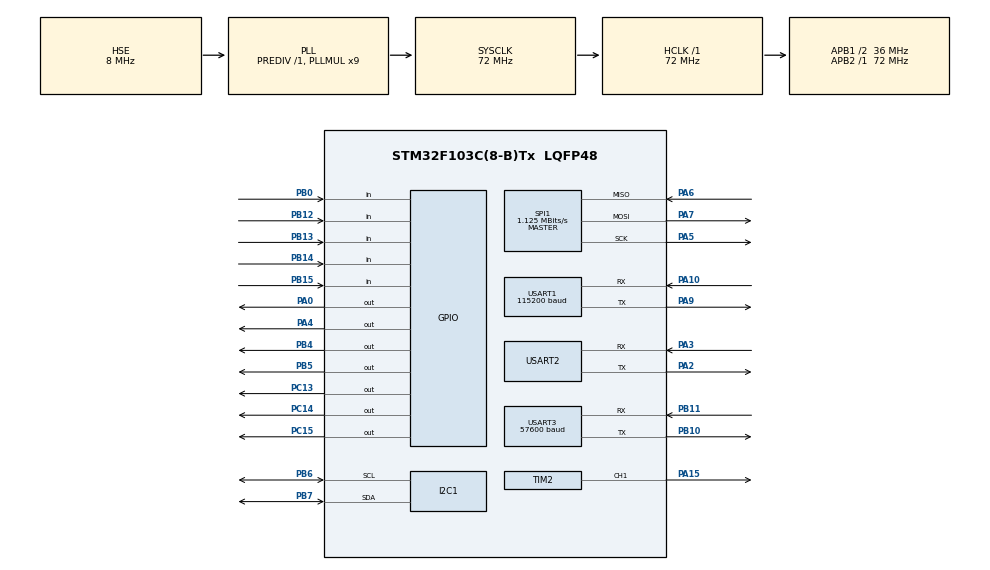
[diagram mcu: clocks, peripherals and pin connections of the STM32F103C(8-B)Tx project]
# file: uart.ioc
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Mcu.Family=STM32F1
Mcu.Name=STM32F103C(8-B)Tx
Mcu.Package=LQFP48
NVIC.PriorityGroup=NVIC_PRIORITYGROUP_4
NVIC.TIM3_IRQn=true\:0\:0\:false\:false\:true\:true\:true\:true
NVIC.USART1_IRQn=true\:0\:0\:false\:false\:true\:true\:true\:true
NVIC.USART2_IRQn=true\:0\:0\:false\:false\:true\:true\:true\:true
NVIC.USART3_IRQn=true\:0\:0\:false\:false\:true\:true\:true\:true
PA0-WKUP.Signal=GPIO_Output
PA10.Mode=Asynchronous
PA10.Signal=USART1_RX
PA13.Mode=Serial_Wire
PA13.Signal=SYS_JTMS-SWDIO
PA14.Mode=Serial_Wire
PA14.Signal=SYS_JTCK-SWCLK
PA15.Signal=S_TIM2_CH1_ETR
PA2.Mode=Asynchronous
PA2.Signal=USART2_TX
PA3.Mode=Asynchronous
PA3.Signal=USART2_RX
PA4.Signal=GPIO_Output
PA5.Mode=Full_Duplex_Master
PA5.Signal=SPI1_SCK
PA6.Mode=Full_Duplex_Master
PA6.Signal=SPI1_MISO
PA7.Mode=Full_Duplex_Master
PA7.Signal=SPI1_MOSI
PA9.Mode=Asynchronous
PA9.Signal=USART1_TX
PB0.Signal=GPIO_Input
PB10.Mode=Asynchronous
PB10.Signal=USART3_TX
PB11.Mode=Asynchronous
PB11.Signal=USART3_RX
PB12.GPIO_PuPd=GPIO_PULLUP
PB12.Signal=GPIO_Input
PB13.GPIO_PuPd=GPIO_PULLUP
PB13.Signal=GPIO_Input
PB14.GPIO_PuPd=GPIO_PULLUP
PB14.Signal=GPIO_Input
PB15.GPIO_PuPd=GPIO_PULLUP
PB15.Signal=GPIO_Input
PB4.GPIO_ModeDefaultOutputPP=GPIO_MODE_OUTPUT_PP
PB4.Signal=GPIO_Output
PB5.PinState=GPIO_PIN_SET
PB5.Signal=GPIO_Output
PB6.Mode=I2C
PB6.Signal=I2C1_SCL
PB7.Mode=I2C
PB7.Signal=I2C1_SDA
PC13-TAMPER-RTC.Signal=GPIO_Output
PC14-OSC32_IN.Signal=GPIO_Output
PC15-OSC32_OUT.Signal=GPIO_Output
PD0-OSC_IN.Mode=HSE-External-Oscillator
PD0-OSC_IN.Signal=RCC_OSC_IN
PD1-OSC_OUT.Mode=HSE-External-Oscillator
PD1-OSC_OUT.Signal=RCC_OSC_OUT
ProjectManager.HeapSize=0x200
ProjectManager.StackSize=0x400
ProjectManager.TargetToolchain=MDK-ARM V5.32
RCC.AHBFreq_Value=72000000
RCC.APB1CLKDivider=RCC_HCLK_DIV2
RCC.APB1Freq_Value=36000000
RCC.APB1TimFreq_Value=72000000
RCC.APB2Freq_Value=72000000
RCC.APB2TimFreq_Value=72000000
RCC.HCLKFreq_Value=72000000
RCC.PLLMUL=RCC_PLL_MUL9
RCC.PLLSourceVirtual=RCC_PLLSOURCE_HSE
RCC.SYSCLKFreq_VALUE=72000000
RCC.SYSCLKSource=RCC_SYSCLKSOURCE_PLLCLK
RCC.USBFreq_Value=72000000
SH.S_TIM2_CH1_ETR.0=TIM2_CH1,PWM Generation1 CH1
SPI1.BaudRatePrescaler=SPI_BAUDRATEPRESCALER_64
SPI1.CalculateBaudRate=1.125 MBits/s
SPI1.Direction=SPI_DIRECTION_2LINES
SPI1.Mode=SPI_MODE_MASTER
SPI1.VirtualType=VM_MASTER
TIM2.AutoReloadPreload=TIM_AUTORELOAD_PRELOAD_DISABLE
TIM2.Channel-PWM\ Generation1\ CH1=TIM_CHANNEL_1
TIM2.Period=20000
TIM2.Prescaler=71
TIM2.Pulse-PWM\ Generation1\ CH1=0
TIM3.Period=9999
TIM3.Prescaler=71
USART1.BaudRate=115200
USART1.VirtualMode=VM_ASYNC
USART2.VirtualMode=VM_ASYNC
USART3.BaudRate=57600
USART3.VirtualMode=VM_ASYNC
VP_TIM2_VS_ClockSourceINT.Mode=Internal
VP_TIM3_VS_ClockSourceINT.Mode=Internal
board=custom

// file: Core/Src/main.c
/* USER CODE BEGIN Header */
/**
  ******************************************************************************
  * @file           : main.c
  * @brief          : Main program body
  ******************************************************************************
  * @attention
  *
  * Copyright (c) 2025 STMicroelectronics.
  * All rights reserved.
  *
  * This software is licensed under terms that can be found in the LICENSE file
  * in the root directory of this software component.
  * If no LICENSE file comes with this software, it is provided AS-IS.
  *
  ******************************************************************************
  */
/* USER CODE END Header */
#include "main.h"
#include "i2c.h"
#include "spi.h"
#include "tim.h"
#include "usart.h"
#include "gpio.h"

/* USER CODE BEGIN Includes */
#include "stdio.h"
#include "string.h"
#include "interrupt.h"
#include "oled.h"
#include "rc522.h"
/* USER CODE END Includes */

/* USER CODE BEGIN PD */
#define TARGET_STRING1 "success"
#define TARGET_STRING2 "+MQTTSUBRECV:0,\"smarthome/lock\",1,1"
#define TARGET_STRING3 "+MQTTSUBRECV:0,\"smarthome/lock\",13,resetpassword"
uint8_t ESP8266_INIT_OK = 0;
/* USER CODE END PD */

void SystemClock_Config(void);

/* USER CODE BEGIN 0 */
uint8_t Key_row[1]={0xff};   //保存按键行扫描情况的状态数组
int key_Data;
#define START_KEY 5  // ?????? 5 ??????
#define PASSWORD_LEN 4
char current_password[PASSWORD_LEN];
#define USART_REC_LEN 200 // ???????
#define RXBUFFERSIZE 1 // ????
unsigned char USART1_RX_BUF[USART_REC_LEN]; // ????
unsigned int USART1_RX_STA = 0; // ??????
unsigned char aRxBuffer1[RXBUFFERSIZE]; // ????
unsigned char len1; // ????????
void MY_USART1_Printf(const char* str);

unsigned char USART2_RX_BUF[USART_REC_LEN]; // ????
unsigned int USART2_RX_STA = 0; // ??????
unsigned char aRxBuffer2[RXBUFFERSIZE]; // ????
unsigned char len2; // ????????
void MY_USART2_Printf(const char* str);

unsigned char USART3_RX_BUF[USART_REC_LEN]; // ????
unsigned int USART3_RX_STA = 0; // ??????
unsigned char aRxBuffer3[RXBUFFERSIZE]; // ????
unsigned char len3; // ????????

unsigned char aRxBuffer[RXBUFFERSIZE]; // ???????
unsigned char len;                     // ????????

const char* sendString = "Please send the target string.\n";
const char* targetString = "your_target_string";
extern void MFRC522_Init(void);
extern struct keys key[];
uint8_t zhiling1[]={0xEF,0x01,0xFF,0xFF,0xFF,0xFF,0x01,0x00,0x03,0x01,0x00,0x05};
uint8_t zhiling2[]={0xEF,0x01,0xFF,0xFF,0xFF,0xFF,0x01,0x00,0x04,0x02,0x01,0x00,0x08};
uint8_t zhiling3[]={0xEF,0x01,0xFF,0xFF,0xFF,0xFF,0x01,0x00,0x08,0x04,0x01,0x00,0x01,0x00,0x01,0x00,0x10};
uint8_t zhiling4[]={0xEF,0x01,0xFF,0xFF,0xFF,0xFF,0x01,0x00,0x08,0x32,0x02,0xFF,0xFF,0x00,0x05,0x02,0x40};//直接
uint8_t reply1[]={0xEF,0x01,0xFF,0xFF,0xFF,0xFF,0x07,0x00,0x08,0x00};//使用指令4正确的返回格式
extern char rxdata[];
extern uint8_t rxdat;
extern unsigned char rx_pointer;
uint8_t flag=0;
uint8_t 	k;
uint8_t 	i;
uint8_t 	j;
uint8_t 	b;
uint8_t 	comand;
uint8_t		text2[9] = "Card ID: ";
uint8_t		end[1] = "\r";
uint8_t		txBuffer[18] = "00000000";
uint8_t		NFCka[18] = "C3D1BB0F";
uint8_t		NFCka1[18] = "030B8016";
uint8_t 	retstr[10];
uint8_t 	rxBuffer[8];
uint8_t		lastID[4];
uint8_t		memID[8] = "9C55A1B5";
uint8_t		str[MFRC522_MAX_LEN];																						// MFRC522_MAX_LEN = 16
uint8_t MFRC522_Check(uint8_t* id);
uint8_t MFRC522_Compare(uint8_t* CardID, uint8_t* CompareID);
void MFRC522_WriteRegister(uint8_t addr, uint8_t val);
uint8_t MFRC522_ReadRegister(uint8_t addr);
void MFRC522_SetBitMask(uint8_t reg, uint8_t mask);
void MFRC522_ClearBitMask(uint8_t reg, uint8_t mask);
uint8_t MFRC522_Request(uint8_t reqMode, uint8_t* TagType);
uint8_t MFRC522_ToCard(uint8_t command, uint8_t* sendData, uint8_t sendLen, uint8_t* backData, uint16_t* backLen);
uint8_t MFRC522_Anticoll(uint8_t* serNum);
void MFRC522_CalulateCRC(uint8_t* pIndata, uint8_t len, uint8_t* pOutData);
uint8_t MFRC522_SelectTag(uint8_t* serNum);
uint8_t MFRC522_Auth(uint8_t authMode, uint8_t BlockAddr, uint8_t* Sectorkey, uint8_t* serNum);
uint8_t MFRC522_Read(uint8_t blockAddr, uint8_t* recvData);
uint8_t MFRC522_Write(uint8_t blockAddr, uint8_t* writeData);
void MFRC522_Init(void);
void MFRC522_Reset(void);
void MFRC522_AntennaOn(void);
void MFRC522_AntennaOff(void);
void MFRC522_Halt(void);

void MY_USART3_Printf(const char* str);
void char_to_hex(uint8_t data);
void MY_USART_Printf(UART_HandleTypeDef *huart, const char* str);
int compareReceivedString(int uart_num, const char* sendStr, const char* targetStr);
char KEY_ROW_SCAN(void)
{
    //读出行扫描状态
    Key_row[0] = HAL_GPIO_ReadPin(GPIOB,GPIO_PIN_12)<<3;//列1读取
    Key_row[0] = Key_row[0] | (HAL_GPIO_ReadPin(GPIOB,GPIO_PIN_13)<<2);//列2读取
    Key_row[0] = Key_row[0] | (HAL_GPIO_ReadPin(GPIOB,GPIO_PIN_14)<<1);//列3读取
    Key_row[0] = Key_row[0] | (HAL_GPIO_ReadPin(GPIOB,GPIO_PIN_15));//列4读取

    if(Key_row[0] != 0x0f)         //行扫描有变化，判断该列有按键按下
    {
      HAL_Delay(10);                    //消抖
      if(Key_row[0] != 0x0f)
        {
                switch(Key_row[0])
                {
                    case 0x07:         //0111 判断为该列第1行的按键按下
                        return 1;
                    case 0x0b:         //1011 判断为该列第2行的按键按下
                        return 2;
                    case 0x0d:         //1101 判断为该列第3行的按键按下
                        return 3;
                    case 0x0e:         //1110 判断为该列第4行的按键按下
                        return 4;
                    default :
                        return 0;
                }
        }
        else return 0;
    }
    else return 0;
}
char KEY_SCAN(void)
{
    char Key_Num=0;       //1-16对应的按键数
    char key_row_num=0;        //行扫描结果记录

		HAL_GPIO_WritePin(GPIOA, GPIO_PIN_0, GPIO_PIN_RESET);	//行1置低
    if( (key_row_num=KEY_ROW_SCAN()) != 0 )
    {
        while(KEY_ROW_SCAN() != 0);  //消抖
        Key_Num = 0 + key_row_num;

    }
		HAL_GPIO_WritePin(GPIOA, GPIO_PIN_0, GPIO_PIN_SET);	//行1置高

    HAL_GPIO_WritePin(GPIOC, GPIO_PIN_15, GPIO_PIN_RESET);	//行2置低
    if( (key_row_num=KEY_ROW_SCAN()) != 0 )
    {
        while(KEY_ROW_SCAN() != 0);
        Key_Num = 4 + key_row_num;
    }
    HAL_GPIO_WritePin(GPIOC, GPIO_PIN_15, GPIO_PIN_SET);	//行2置高

    HAL_GPIO_WritePin(GPIOC, GPIO_PIN_14, GPIO_PIN_RESET);	//行3置低
    if( (key_row_num=KEY_ROW_SCAN()) != 0 )
    {
        while(KEY_ROW_SCAN() != 0);
    Key_Num = 8 + key_row_num;
    }
		HAL_GPIO_WritePin(GPIOC, GPIO_PIN_14, GPIO_PIN_SET);	//行3置高

		HAL_GPIO_WritePin(GPIOC, GPIO_PIN_13, GPIO_PIN_RESET);	//行4置低
    if( (key_row_num=KEY_ROW_SCAN()) != 0 )
    {
        while(KEY_ROW_SCAN() != 0);
        Key_Num = 12 + key_row_num;

    }
		HAL_GPIO_WritePin(GPIOC, GPIO_PIN_13, GPIO_PIN_SET);	//行4置高

    return Key_Num;
}
void initialize_password() {
    // ??????????,?? 1, 2, 3, 4
    for (int i = 0; i < PASSWORD_LEN; i++) {
        current_password[i] = i + 1;
    }
}

//// ???????
void change_password() {
    char new_password[PASSWORD_LEN];
    int i = 0;
    char display_str[PASSWORD_LEN + 1];  // ???? * ????

    OLED_FullyClear();
    OLED_ShowStr(0, 0, (unsigned char *)"new password", 2);

    while (i < PASSWORD_LEN) {
        char key = KEY_SCAN();
        if (key != 0) {  // ???????
            new_password[i] = key;
            // ??????????? *
            display_str[i] = '*';
            display_str[i + 1] = '\0';  // ??????
            // ??????? * ???
            OLED_ShowStr(0, 10, (unsigned char *)display_str, 2);
            i++;
        }
    }

    // ?????????????
    for (i = 0; i < PASSWORD_LEN; i++) {
        current_password[i] = new_password[i];
    }
    OLED_FullyClear();
    OLED_ShowStr(0, 0, (unsigned char *)"Password changed", 2);
		HAL_Delay(500);
		OLED_FullyClear();
}

//// ?????????

//// ?????????
void password_input_and_verify() {
    char input_password[PASSWORD_LEN];
    int i = 0;
    char display_str[PASSWORD_LEN + 1];  // ???? * ????
		OLED_FullyClear();
    OLED_ShowStr(0, 0, (unsigned char *)"Enter password", 2);

    // ??????
    while (i < PASSWORD_LEN) {
        char key = KEY_SCAN();
        if (key != 0) {  // ???????
            input_password[i] = key;
            // ??????????? *
            display_str[i] = '*';
            display_str[i + 1] = '\0';  // ??????
            // ??????? * ???
            OLED_ShowStr(0, 10, (unsigned char *)display_str, 2);
            i++;
        }
    }

    // ????
    for (i = 0; i < PASSWORD_LEN; i++) {
        if (input_password[i] != current_password[i]) {
            OLED_FullyClear();
            OLED_ShowStr(0, 0, (unsigned char *)"Password wrong", 2);
        }
        else if (i==3&&input_password[i] == current_password[i])
					{
				  OLED_FullyClear();
					OLED_ShowStr(0, 0, (unsigned char *)"Password correct", 2);
					__HAL_TIM_SET_COMPARE(&htim2,TIM_CHANNEL_1,1500);//90
			    HAL_Delay(1000);
				  __HAL_TIM_SET_COMPARE(&htim2,TIM_CHANNEL_1,500);//0
					}
    }
				HAL_Delay(500);
				OLED_FullyClear();
}
void char_to_hex(uint8_t data) {
	uint8_t digits[] = {'0','1','2','3','4','5','6','7','8','9','A','B','C','D','E','F'};

	if (data < 16) {
		retstr[0] = '0';
		retstr[1] = digits[data];
	} else {
		retstr[0] = digits[(data & 0xF0)>>4];
		retstr[1] = digits[(data & 0x0F)];
	}
}

void ESP8266_Init(void)//初始化wifi模块
{
	  HAL_Delay(3000);

		USART2_RX_STA = 0;
	  while ((USART2_RX_STA & 0x8000)==0){
			MY_USART2_Printf("AT+CWMODE=1\r\n");
			HAL_Delay(500);
		}
		HAL_Delay(500);
		USART2_RX_STA = 0;
		while ((USART2_RX_STA & 0x8000)==0){
    MY_USART2_Printf("AT+CWJAP=\"lin\",\"210629939\"\r\n");
			HAL_Delay(500);
		}
		HAL_Delay(2000);
		USART2_RX_STA = 0;
		while ((USART2_RX_STA & 0x8000)==0){
		MY_USART2_Printf("AT+MQTTUSERCFG=0,1,\"MQTT_ID\",\"username\",\"password\",0,0,\"\"\r\n");
			HAL_Delay(500);
		}
		HAL_Delay(500);
    USART2_RX_STA = 0;
		while ((USART2_RX_STA & 0x8000)==0){
    MY_USART2_Printf("AT+MQTTCONN=0,\"47.95.171.151\",1883,1\r\n");
			HAL_Delay(500);
		}
		HAL_Delay(1000);
		USART2_RX_STA = 0;
		while ((USART2_RX_STA & 0x8000)==0){
	  MY_USART2_Printf("AT+MQTTSUB=0,\"smarthome/lock\",0\r\n");
			HAL_Delay(500);
		}
		HAL_Delay(500);
		USART2_RX_STA = 0;
		while ((USART2_RX_STA & 0x8000)==0){
    MY_USART2_Printf("AT+MQTTPUB=0,\"smarthome/lock\",\"init\",0,0\r\n");
			HAL_Delay(500);
		}
		USART2_RX_STA = 0;
}
/* USER CODE END 0 */

int main(void)
{
  /* USER CODE BEGIN 1 */
//    unsigned short timeCount = 0;	//??????
//    unsigned char *dataPtr = NULL;
  /* USER CODE END 1 */

  /* MCU Configuration--------------------------------------------------------*/

  /* Reset of all peripherals, Initializes the Flash interface and the Systick. */
  HAL_Init();

  /* Configure the system clock */
  SystemClock_Config();

  /* Initialize all configured peripherals */
  MX_GPIO_Init();
  MX_USART1_UART_Init();
  MX_USART2_UART_Init();
  MX_USART3_UART_Init();
  MX_I2C1_Init();
  MX_SPI1_Init();
  MX_TIM3_Init();
  MX_TIM2_Init();
  /* USER CODE BEGIN 2 */
	MFRC522_Init();//RC522初始化
  HAL_TIM_Base_Start_IT(&htim3);
  HAL_UART_Receive_IT(&huart1, (unsigned char*)aRxBuffer1, RXBUFFERSIZE);
	HAL_UART_Receive_IT(&huart2, (unsigned char*)aRxBuffer2, RXBUFFERSIZE);
  HAL_UART_Receive_IT(&huart3, (unsigned char*)aRxBuffer3, RXBUFFERSIZE);
	HAL_TIM_PWM_Start(&htim2,TIM_CHANNEL_1);
//  ESP8266_Init();					//???ESP8266
  OLED_Init();
	OLED_FullyClear();
	OLED_ShowStr(35,10, (unsigned char *)"init",2);
	initialize_password();
  /* USER CODE END 2 */

  /* Infinite loop */
  while (1)
  {

    /* USER CODE BEGIN 3 */
//		HAL_Delay(500);
//		OLED_FullyClear();
		OLED_ShowStr(35,10, (unsigned char *)"LOCK",2);
		key_Data = KEY_SCAN();
		if(key_Data==13)
		{
//		   OLED_ShowStr1(35,10, &key_Data,1,2);
			password_input_and_verify();
		}
	 if (USART1_RX_STA & 0x8000) {
		len1 = USART1_RX_STA & 0x3fff;
    USART1_RX_STA = 0;

    if (len1 >= strlen(TARGET_STRING1)) {
			USART1_RX_BUF[len1] = '\0'; // ????????
      if (strcmp((char*)USART1_RX_BUF, TARGET_STRING1) == 0) {
				OLED_ShowStr(35,10, (unsigned char *)"pass",2);
				__HAL_TIM_SET_COMPARE(&htim2,TIM_CHANNEL_1,1500);//90
				HAL_Delay(1000);
				__HAL_TIM_SET_COMPARE(&htim2,TIM_CHANNEL_1,500);//0
		    OLED_FullyClear();
      }
    }

	 }
	 if (USART2_RX_STA & 0x8000) {
		len2 = USART2_RX_STA & 0x3fff;
    USART2_RX_STA = 0;
    if (len2 >= strlen(TARGET_STRING2)) {
			USART2_RX_BUF[len2] = '\0'; // ????????
      if (strcmp((char*)USART2_RX_BUF, TARGET_STRING2) == 0) {
        OLED_ShowStr(35,10, (unsigned char *)"pass",2);
				__HAL_TIM_SET_COMPARE(&htim2,TIM_CHANNEL_1,1500);//90
				HAL_Delay(1000);
				__HAL_TIM_SET_COMPARE(&htim2,TIM_CHANNEL_1,500);//0
		    OLED_FullyClear();

      }
			else if(strcmp((char*)USART2_RX_BUF, TARGET_STRING3) == 0) {
        change_password();
      }
    }
	 }
	 		if(key[0].single_flag==1)
	  {
		HAL_UART_Transmit(&huart3,(uint8_t *)zhiling4,sizeof(zhiling4),50);
						key[0].single_flag=0;
	  }
 if (USART3_RX_STA & 0x8000) {
        len3 = USART3_RX_STA & 0x3fff;
        USART3_RX_STA = 0;
        // ????????????
        if (len3 >= sizeof(reply1)) {
            USART3_RX_BUF[len3] = '\0';
            if (memcmp(USART3_RX_BUF, reply1, sizeof(reply1)) == 0) {
                OLED_ShowStr(35, 10, (unsigned char *)"pass", 2);
							  __HAL_TIM_SET_COMPARE(&htim2,TIM_CHANNEL_1,1500);//90
								HAL_Delay(1000);
							  __HAL_TIM_SET_COMPARE(&htim2,TIM_CHANNEL_1,500);//0
		            OLED_FullyClear();
            } else {
                OLED_ShowStr(35, 10, (unsigned char *)"fail", 2);
							  HAL_Delay(1000);
		            OLED_FullyClear();
            }
        }
    }
// 					  HAL_UART_Transmit(&huart3, USART3_RX_BUF, len3, HAL_MAX_DELAY);

	 if (memcmp(txBuffer, NFCka1, sizeof(txBuffer)) == 0) {
		 OLED_FullyClear();
		 OLED_ShowStr(35,10, (unsigned char *)"pass",2);
		 __HAL_TIM_SET_COMPARE(&htim2,TIM_CHANNEL_1,1500);//90
		 HAL_Delay(1000);
		 __HAL_TIM_SET_COMPARE(&htim2,TIM_CHANNEL_1,500);//0
		 OLED_FullyClear();
		 txBuffer[0] = 0xFF;
    }
	 else if(memcmp(txBuffer, NFCka, sizeof(txBuffer)) == 0){
		OLED_FullyClear();
		OLED_ShowStr(35,10, (unsigned char *)"fail",2);
		HAL_Delay(1000);
		OLED_FullyClear();
		txBuffer[0] = 0xFF;
    }
	if (!MFRC522_Request(PICC_REQIDL, str)) { // ??
    if (!MFRC522_Anticoll(str)) { // ???????
        int b = 0;

        for (int i = 0; i < 4; i++) {
            lastID[i] = str[i];
        }

        for (int i = 0; i < 4; i++) {
            char_to_hex(str[i]);
            txBuffer[b] = retstr[0]; // ????? txBuffer ?
            b++;
            txBuffer[b] = retstr[1];
            b++;
        }
    }
}

  }
  /* USER CODE END 3 */
}

void SystemClock_Config(void)
{
  RCC_OscInitTypeDef RCC_OscInitStruct = {0};
  RCC_ClkInitTypeDef RCC_ClkInitStruct = {0};

  /** Initializes the RCC Oscillators according to the specified parameters
  * in the RCC_OscInitTypeDef structure.
  */
  RCC_OscInitStruct.OscillatorType = RCC_OSCILLATORTYPE_HSE;
  RCC_OscInitStruct.HSEState = RCC_HSE_ON;
  RCC_OscInitStruct.HSEPredivValue = RCC_HSE_PREDIV_DIV1;
  RCC_OscInitStruct.HSIState = RCC_HSI_ON;
  RCC_OscInitStruct.PLL.PLLState = RCC_PLL_ON;
  RCC_OscInitStruct.PLL.PLLSource = RCC_PLLSOURCE_HSE;
  RCC_OscInitStruct.PLL.PLLMUL = RCC_PLL_MUL9;
  if (HAL_RCC_OscConfig(&RCC_OscInitStruct) != HAL_OK)
  {
    Error_Handler();
  }

  /** Initializes the CPU, AHB and APB buses clocks
  */
  RCC_ClkInitStruct.ClockType = RCC_CLOCKTYPE_HCLK|RCC_CLOCKTYPE_SYSCLK
                              |RCC_CLOCKTYPE_PCLK1|RCC_CLOCKTYPE_PCLK2;
  RCC_ClkInitStruct.SYSCLKSource = RCC_SYSCLKSOURCE_PLLCLK;
  RCC_ClkInitStruct.AHBCLKDivider = RCC_SYSCLK_DIV1;
  RCC_ClkInitStruct.APB1CLKDivider = RCC_HCLK_DIV2;
  RCC_ClkInitStruct.APB2CLKDivider = RCC_HCLK_DIV1;

  if (HAL_RCC_ClockConfig(&RCC_ClkInitStruct, FLASH_LATENCY_2) != HAL_OK)
  {
    Error_Handler();
  }
}

/* USER CODE BEGIN 4 */
void MY_USART_Printf(UART_HandleTypeDef *huart, const char* str)
{
    if (str == NULL) {
        return;
    }
    unsigned int usart_len = strlen(str);
    unsigned int index = 0;
    while (index < usart_len) {
        HAL_UART_Transmit(huart, (unsigned char*)&str[index], 1, 0xff);
        index++;
    }
}

void MY_USART1_Printf(const char* str)
{
    if (str == NULL) {
        return;
    }
    unsigned int usart1_len = strlen(str);
    unsigned int index = 0;
    while (index < usart1_len) {
        HAL_UART_Transmit(&huart1, (unsigned char*)&str[index], 1, 0xff);
        index++;
    }
}
void MY_USART2_Printf(const char* str)
{
    if (str == NULL) {
        return;
    }
    unsigned int usart2_len = strlen(str);
    unsigned int index = 0;
    while (index < usart2_len) {
        HAL_UART_Transmit(&huart2, (unsigned char*)&str[index], 1, 0xff);
        index++;
    }
}
void MY_USART3_Printf(const char* str)
{
    if (str == NULL) {
        return;
    }
    unsigned int usart3_len = strlen(str);
    unsigned int index = 0;
    while (index < usart3_len) {
        HAL_UART_Transmit(&huart3, (unsigned char*)&str[index], 1, 0xff);
        index++;
    }
}
void HAL_UART_RxCpltCallback(UART_HandleTypeDef* huart)
{
    if (huart->Instance == USART1) {
        if ((USART1_RX_STA & 0x8000) == 0) // ?????
        {
            if (USART1_RX_STA & 0x4000) // ????0x0d
            {
                if (aRxBuffer1[0] != 0x0a) // ????,????
                    USART1_RX_STA = 0;
                else // ?????
                    USART1_RX_STA |= 0x8000;
            } else // ????0X0D
            {
                if (aRxBuffer1[0] == 0x0d)
                    USART1_RX_STA |= 0x4000;
                else {
                    USART1_RX_BUF[USART1_RX_STA & 0X3FFF] = aRxBuffer1[0];
                    USART1_RX_STA++;
                    if (USART1_RX_STA > (USART_REC_LEN - 1))
                        USART1_RX_STA = 0; // ??????,??????
                }
            }
        }
    }
		if (huart->Instance == USART2) {
        if ((USART2_RX_STA & 0x8000) == 0) // ?????
        {
            if (USART2_RX_STA & 0x4000) // ????0x0d
            {
                if (aRxBuffer2[0] != 0x0a) // ????,????
                    USART2_RX_STA = 0;
                else // ?????
                    USART2_RX_STA |= 0x8000;
            } else // ????0X0D
            {
                if (aRxBuffer2[0] == 0x0d)
                    USART2_RX_STA |= 0x4000;
                else {
                    USART2_RX_BUF[USART2_RX_STA & 0X3FFF] = aRxBuffer2[0];
                    USART2_RX_STA++;
                    if (USART2_RX_STA > (USART_REC_LEN - 1))
                        USART2_RX_STA = 0; // ??????,??????
                }
            }
        }
    }
		if (huart->Instance == USART3) {
        if ((USART3_RX_STA & 0x8000) == 0) // ?????
        {
            if (USART3_RX_STA & 0x4000) // ????0x0d
            {
                if (aRxBuffer3[0] != 0x0a) // ????,????
                    USART3_RX_STA = 0;
                else // ?????
                    USART3_RX_STA |= 0x8000;
            } else // ????0X0D
            {
                if (aRxBuffer3[0] == 0x0d)
                    USART3_RX_STA |= 0x4000;
                else {
                    USART3_RX_BUF[USART3_RX_STA & 0X3FFF] = aRxBuffer3[0];
                    USART3_RX_STA++;
										            // ??????????17???
										if ((USART3_RX_STA & 0x3FFF) >= 17)
										{
												// ?????17???,? USART3_RX_STA ?????? 1,??????
												USART3_RX_STA |= 0x8000;
										}
										else
										{
                // ?????????????????????
												if (USART3_RX_STA > (USART_REC_LEN - 1))
												{
                    // ?????????,????????,??????,??????
														USART3_RX_STA = 0;
												}
										}
                }
            }
        }
    }
}

int compareReceivedString(int uart_num, const char* sendStr, const char* targetStr)//参数为第几个串口 发送字符串，接接收字符串
{
    UART_HandleTypeDef *huart;
    unsigned int *rx_sta;
    unsigned char *rx_buf;

    // ???????????????????????????
    switch (uart_num) {
        case 1:
            huart = &huart1;
            rx_sta = &USART1_RX_STA;
            rx_buf = USART1_RX_BUF;
            break;
        case 2:
            huart = &huart2;
            rx_sta = &USART2_RX_STA;
            rx_buf = USART2_RX_BUF;
            break;
        case 3:
            huart = &huart3;
            rx_sta = &USART3_RX_STA;
            rx_buf = USART3_RX_BUF;
            break;
        default:
            return 1;
    }

    // ??????????
    MY_USART_Printf(huart, sendStr);

    // ????????
    while ((*rx_sta & 0x8000) == 0) {
        // ??????????,??????
    }

    // ??????????
    len = *rx_sta & 0x3fff;
    *rx_sta = 0;

    // ????????????
    if (len >= strlen(targetStr)) {
        rx_buf[len] = '\0'; // ????????
        if (strcmp((char*)rx_buf, targetStr) == 0) {
            return 0; // ????????????
        }
    }
    return 1; // ?????????????
}
void USART1_IRQHandler(void)
{
    unsigned int timeout = 0;
    unsigned int maxDelay = 0x1FFFF;

    HAL_UART_IRQHandler(&huart1); // ??HAL?????????

    timeout = 0;
    while (HAL_UART_GetState(&huart1) != HAL_UART_STATE_READY) // ????
    {
        timeout++; // ????
        if (timeout > maxDelay)
            break;
    }

    timeout = 0;
    // ????????,?????????RxXferCount?1
    while (HAL_UART_Receive_IT(&huart1, (unsigned char*)aRxBuffer1, RXBUFFERSIZE) != HAL_OK) {
        timeout++; // ????
        if (timeout > maxDelay)
            break;
    }
}
void USART2_IRQHandler(void)
{
    unsigned int timeout = 0;
    unsigned int maxDelay = 0x1FFFF;

    HAL_UART_IRQHandler(&huart2); // ??HAL?????????

    timeout = 0;
    while (HAL_UART_GetState(&huart2) != HAL_UART_STATE_READY) // ????
    {
        timeout++; // ????
        if (timeout > maxDelay)
            break;
    }

    timeout = 0;
    // ????????,?????????RxXferCount?1
    while (HAL_UART_Receive_IT(&huart2, (unsigned char*)aRxBuffer2, RXBUFFERSIZE) != HAL_OK) {
        timeout++; // ????
        if (timeout > maxDelay)
            break;
    }
}
void USART3_IRQHandler(void)
{
    unsigned int timeout = 0;
    unsigned int maxDelay = 0x1FFFF;

    HAL_UART_IRQHandler(&huart3); // ??HAL?????????

    timeout = 0;
    while (HAL_UART_GetState(&huart3) != HAL_UART_STATE_READY) // ????
    {
        timeout++; // ????
        if (timeout > maxDelay)
            break;
    }

    timeout = 0;
    // ????????,?????????RxXferCount?1
    while (HAL_UART_Receive_IT(&huart3, (unsigned char*)aRxBuffer3, RXBUFFERSIZE) != HAL_OK) {
        timeout++; // ????
        if (timeout > maxDelay)
            break;
    }
}
/* USER CODE END 4 */

void Error_Handler(void)
{
  __disable_irq();
  while (1)
  {
  }
}
